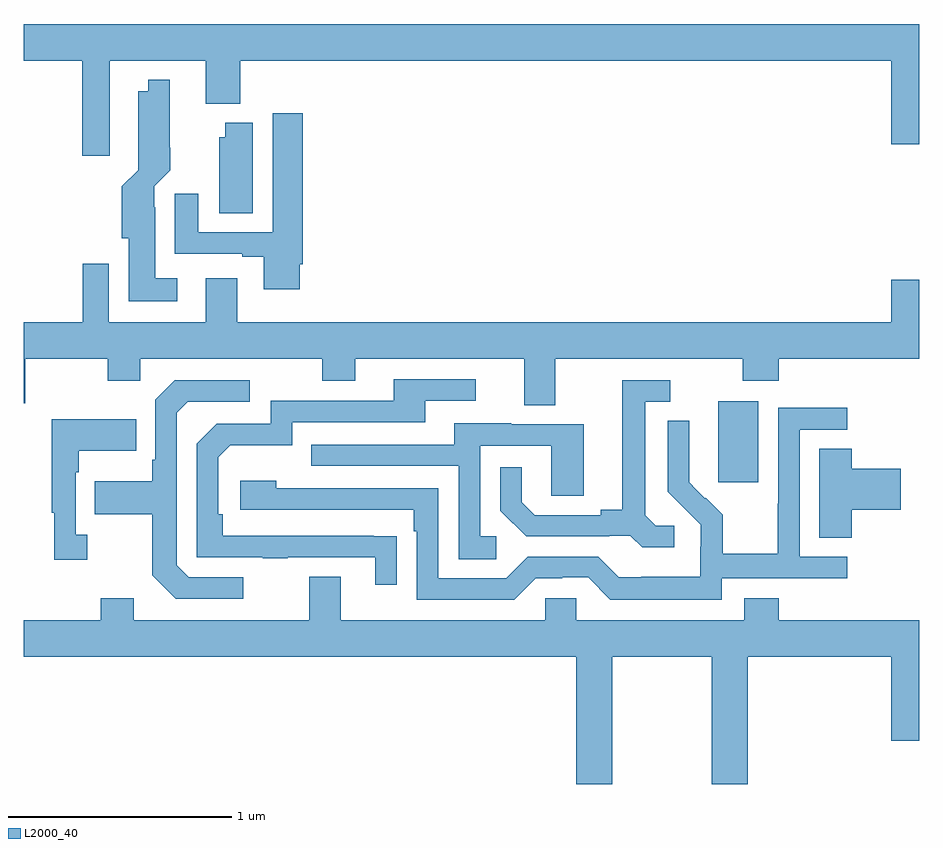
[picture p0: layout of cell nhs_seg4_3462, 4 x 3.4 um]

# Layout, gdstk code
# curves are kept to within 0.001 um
import gdstk
lib = gdstk.Library(unit=1e-6, precision=1e-09)
def R(c, l, rs):  # rectangles x0, y0, x1, y1
    for r in rs: c.add(gdstk.rectangle(r[:2], r[2:], *l))
def P(c, l, *ps):  # polygons
    for p in ps: c.add(gdstk.Polygon(p, *l))
L2000_40 = (2000, 40)

nhs_seg4_3462 = lib.new_cell('nhs_seg4_3462')
R(nhs_seg4_3462, L2000_40, [(296.102,816.249,296.281,816.61)])
P(nhs_seg4_3462, L2000_40, [(293.383,818.132),(293.813,818.132),(293.813,817.94),(293.966,817.94),(293.966,818.132),(296.876,818.132),(296.876,817.758),(297,817.758),(297,818.296),(293,818.296),(293,818.132),(293.261,818.132),(293.261,817.707),(293.383,817.707)],
  [(293.686,817.159),(293.587,817.159),(293.587,817.478),(293.583,817.478),(293.583,817.572),(293.653,817.642),(293.652,818.047),(293.555,818.047),(293.555,817.996),(293.51,817.996),(293.51,817.642),(293.438,817.57),(293.438,817.338),(293.468,817.338),(293.468,817.058),(293.686,817.058)],
  [(294.232,817.222),(294.245,817.222),(294.245,817.897),(294.113,817.897),(294.113,817.365),(293.779,817.365),(293.779,817.537),(293.675,817.537),(293.675,817.269),(293.975,817.269),(293.975,817.257),(294.071,817.257),(294.071,817.11),(294.232,817.11)],
  [(294.022,817.855),(293.9,817.855),(293.9,817.791),(293.873,817.791),(293.873,817.45),(294.022,817.45)],
  [(295.375,816.8),(296.212,816.8),(296.212,816.701),(296.372,816.701),(296.372,816.8),(297,816.8),(297,817.153),(296.876,817.153),(296.876,816.964),(293.953,816.964),(293.953,817.159),(293.813,817.159),(293.813,816.964),(293.379,816.964),(293.379,817.225),(293.263,817.225),(293.263,816.964),(293,816.964),(293,816.601),(293.007,816.601),(293.007,816.8),(293.374,816.8),(293.374,816.701),(293.52,816.701),(293.52,816.8),(294.334,816.8),(294.334,816.701),(294.481,816.701),(294.481,816.8),(295.235,816.8),(295.235,816.592),(295.375,816.592)],
  [(294.665,816.008),(293.888,816.009),(293.888,816.106),(293.868,816.106),(293.868,816.36),(293.921,816.413),(294.198,816.413),(294.198,816.516),(294.793,816.516),(294.793,816.612),(295.018,816.612),(295.018,816.708),(294.653,816.708),(294.653,816.612),(294.102,816.612),(294.102,816.51),(293.862,816.51),(293.772,816.42),(293.772,815.913),(294.067,815.913),(294.067,815.908),(294.179,815.908),(294.179,815.913),(294.569,815.913),(294.569,815.79),(294.665,815.79)],
  [(295.906,816.054),(295.824,816.054),(295.777,816.101),(295.777,816.609),(295.888,816.609),(295.888,816.705),(295.673,816.705),(295.673,816.125),(295.577,816.125),(295.577,816.102),(295.282,816.102),(295.225,816.159),(295.225,816.316),(295.128,816.316),(295.128,816.122),(295.244,816.006),(295.616,816.006),(295.616,816.009),(295.71,816.009),(295.762,815.957),(295.906,815.957)],
  [(293.98,815.823),(293.736,815.823),(293.682,815.877),(293.682,816.558),(293.733,816.609),(294.01,816.609),(294.01,816.705),(293.673,816.705),(293.586,816.618),(293.586,816.349),(293.574,816.349),(293.574,816.253),(293.317,816.253),(293.317,816.106),(293.574,816.106),(293.574,815.833),(293.679,815.727),(293.98,815.727)],
  [(296.118,815.82),(296.68,815.82),(296.68,815.916),(296.466,815.916),(296.466,816.483),(296.68,816.483),(296.68,816.582),(296.37,816.582),(296.37,816.152),(296.368,816.152),(296.368,815.929),(296.123,815.929),(296.123,816.103),(296.046,816.18),(296.043,816.177),(295.973,816.248),(295.974,816.524),(295.878,816.524),(295.878,816.206),(296.024,816.058),(296.024,815.961),(296.022,815.961),(296.022,815.827),(295.759,815.827),(295.759,815.823),(295.659,815.823),(295.566,815.916),(295.251,815.916),(295.155,815.82),(294.852,815.82),(294.852,816.222),(294.128,816.222),(294.128,816.256),(293.967,816.256),(293.967,816.126),(294.743,816.126),(294.743,816.029),(294.756,816.029),(294.756,815.724),(295.191,815.724),(295.287,815.82),(295.406,815.82),(295.406,815.823),(295.521,815.823),(295.621,815.723),(296.118,815.723)],
  [(293.284,816.014),(293.232,816.014),(293.232,816.293),(293.245,816.293),(293.245,816.389),(293.501,816.389),(293.501,816.529),(293.124,816.529),(293.124,816.113),(293.135,816.113),(293.135,815.901),(293.284,815.901)],
  [(295.111,816.006),(295.038,816.006),(295.038,816.411),(295.356,816.411),(295.356,816.187),(295.501,816.187),(295.501,816.507),(295.177,816.507),(295.177,816.511),(294.923,816.511),(294.923,816.417),(294.283,816.417),(294.283,816.321),(294.942,816.321),(294.942,815.905),(295.111,815.905)],
  [(296.699,816.125),(296.917,816.125),(296.917,816.308),(296.699,816.308),(296.699,816.398),(296.555,816.398),(296.555,816.001),(296.699,816.001)],
  [(295.629,815.468),(296.074,815.468),(296.074,814.9),(296.234,814.9),(296.234,815.468),(296.876,815.468),(296.876,815.094),(297,815.094),(297,815.632),(296.372,815.632),(296.372,815.731),(296.219,815.731),(296.219,815.632),(295.467,815.632),(295.467,815.73),(295.329,815.73),(295.329,815.632),(294.415,815.632),(294.415,815.827),(294.275,815.827),(294.275,815.632),(293.491,815.632),(293.491,815.731),(293.344,815.731),(293.344,815.632),(293,815.632),(293,815.468),(295.469,815.468),(295.469,814.9),(295.629,814.9)])

lib.write_gds('nhs_seg4_3462.gds')
